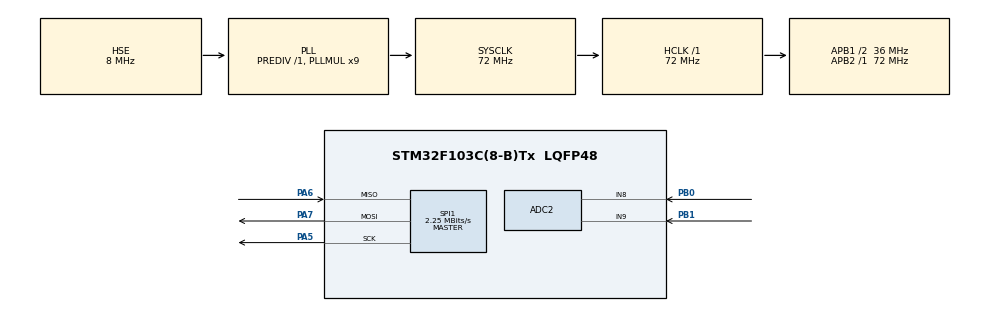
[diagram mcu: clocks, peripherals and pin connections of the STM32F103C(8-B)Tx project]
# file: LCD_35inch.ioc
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ADC2.Channel-0\#ChannelRegularConversion=ADC_CHANNEL_8
ADC2.Channel-2\#ChannelRegularConversion=ADC_CHANNEL_9
ADC2.ContinuousConvMode=ENABLE
ADC2.NbrOfConversion=2
ADC2.NbrOfConversionFlag=1
ADC2.Rank-2\#ChannelRegularConversion=2
ADC2.SamplingTime-0\#ChannelRegularConversion=ADC_SAMPLETIME_239CYCLES_5
ADC2.SamplingTime-2\#ChannelRegularConversion=ADC_SAMPLETIME_239CYCLES_5
Mcu.Family=STM32F1
Mcu.Name=STM32F103C(8-B)Tx
Mcu.Package=LQFP48
NVIC.PriorityGroup=NVIC_PRIORITYGROUP_4
PA13.Mode=Serial_Wire
PA13.Signal=SYS_JTMS-SWDIO
PA14.Mode=Serial_Wire
PA14.Signal=SYS_JTCK-SWCLK
PA5.Mode=Full_Duplex_Master
PA5.Signal=SPI1_SCK
PA6.Mode=Full_Duplex_Master
PA6.Signal=SPI1_MISO
PA7.Mode=Full_Duplex_Master
PA7.Signal=SPI1_MOSI
PB0.Signal=ADCx_IN8
PB1.Signal=ADCx_IN9
PC14-OSC32_IN.Mode=LSE-External-Oscillator
PC14-OSC32_IN.Signal=RCC_OSC32_IN
PC15-OSC32_OUT.Mode=LSE-External-Oscillator
PC15-OSC32_OUT.Signal=RCC_OSC32_OUT
PD0-OSC_IN.Mode=HSE-External-Oscillator
PD0-OSC_IN.Signal=RCC_OSC_IN
PD1-OSC_OUT.Mode=HSE-External-Oscillator
PD1-OSC_OUT.Signal=RCC_OSC_OUT
ProjectManager.HeapSize=0x200
ProjectManager.StackSize=0x400
ProjectManager.TargetToolchain=SW4STM32
RCC.ADCPresc=RCC_ADCPCLK2_DIV6
RCC.AHBFreq_Value=72000000
RCC.APB1CLKDivider=RCC_HCLK_DIV2
RCC.APB1Freq_Value=36000000
RCC.APB1TimFreq_Value=72000000
RCC.APB2Freq_Value=72000000
RCC.APB2TimFreq_Value=72000000
RCC.HCLKFreq_Value=72000000
RCC.PLLMUL=RCC_PLL_MUL9
RCC.PLLSourceVirtual=RCC_PLLSOURCE_HSE
RCC.SYSCLKFreq_VALUE=72000000
RCC.SYSCLKSource=RCC_SYSCLKSOURCE_PLLCLK
RCC.USBFreq_Value=72000000
SH.ADCx_IN8.0=ADC2_IN8,IN8
SH.ADCx_IN9.0=ADC2_IN9,IN9
SPI1.BaudRatePrescaler=SPI_BAUDRATEPRESCALER_32
SPI1.CalculateBaudRate=2.25 MBits/s
SPI1.Direction=SPI_DIRECTION_2LINES
SPI1.Mode=SPI_MODE_MASTER
SPI1.VirtualType=VM_MASTER
board=custom

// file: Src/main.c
/* USER CODE BEGIN Header */
/**
  ******************************************************************************
  * @file           : main.c
  * @brief          : Main program body
  ******************************************************************************
  * @attention
  *
  * <h2><center>&copy; Copyright (c) 2019 STMicroelectronics.
  * All rights reserved.</center></h2>
  *
  * This software component is licensed by ST under BSD 3-Clause license,
  * the "License"; You may not use this file except in compliance with the
  * License. You may obtain a copy of the License at:
  *                        opensource.org/licenses/BSD-3-Clause
  *
  ******************************************************************************
  */
/* USER CODE END Header */

#include "main.h"

/* USER CODE BEGIN Includes */
#include "9481.h"
#include "fonts.h"
#include "touch.h"

/* USER CODE END Includes */

ADC_HandleTypeDef hadc2;

SPI_HandleTypeDef hspi1;

/* USER CODE BEGIN PV */
u_int64_t counter = 0;
char TxBuf[100];
uint8_t i = 0 ;
volatile uint16_t valores[4];
uint32_t ADval[2];
/* USER CODE END PV */

void SystemClock_Config(void);
static void MX_GPIO_Init(void);
static void MX_SPI1_Init(void);
static void MX_ADC2_Init(void);

int main(void)
{

  /* MCU Configuration--------------------------------------------------------*/

  /* Reset of all peripherals, Initializes the Flash interface and the Systick. */
  HAL_Init();

  /* Configure the system clock */
  SystemClock_Config();

  /* Initialize all configured peripherals */
  MX_GPIO_Init();
  MX_SPI1_Init();
  MX_ADC2_Init();
  /* USER CODE BEGIN 2 */
  LCD_Begin();
  HAL_Delay(100);
  LCD_fillScreen(RED);
  LCD_fillScreen(GREEN);
  LCD_fillScreen(BLUE);
  LCD_fillScreen(MAGENTA);
  LCD_fillScreen(YELLOW);
  LCD_fillScreen(CYAN);
  LCD_fillScreen(WHITE);
  LCD_fillScreen(GRAY);
  LCD_fillScreen(BLACK);
  HAL_ADC_Start(&hadc2);
  /* USER CODE END 2 */

  /* Infinite loop */
  while (1)
  {

    /* USER CODE BEGIN 3 */
//	  LCD_fillScreen(BLACK);
//	  LCD_fillRectangle(10, 10, 230, 70, BLUE);
//	  LCD_fillRectangle(10, 90, 230, 150, BLUE);
//	  LCD_fillRectangle(10, 170, 230, 230, BLUE);
//	  LCD_fillRectangle(10, 250, 230, 310, BLUE);
//	  LCD_fillRectangle(250, 10, 470, 70, RED);
//	  LCD_fillRectangle(250, 90, 470, 150, RED);
//	  LCD_fillRectangle(250, 170, 470, 230, RED);
//	  LCD_fillRectangle(250, 250, 470, 310, RED);
//	  LCD_WriteString(50, 20, "Option 1", Font_7x10, WHITE, BLUE);
//	  LCD_WriteString(50, 120, "Option 2", Font_11x18, WHITE, BLUE);
//	  LCD_Triangle(100, 100, 120,120,150,100, 4, CYAN);
//	  LCD_Triangle_Fill(0, 0, 50,50,400,10, MAGENTA);
//	  LCD_Rect(100,100, 230, 150, 5, BLUE);
//	  LCD_Circle(200,200, 50, 0, 1, YELLOW);
//	  LCD_Rect_Round(20,200, 100,100, 10, 2, WHITE);
//	  LCD_Rect_Round_Fill(200,10, 100,100, 15,GRAY);
//	  LCD_Line(100, 100, 200, 200, 2, GREEN);  //descida
//	  LCD_Line(100, 100, 200, 100, 2, GREEN); //H
//	  HAL_Delay(50);
//	  LCD_Line(400, 100, 400, 300, 5, GREEN); //V
//	  HAL_Delay(50);
//	  LCD_Line(300, 100, 400, 50, 10, GREEN);  //subida
//	  HAL_Delay(1000);
	  LCD_fillScreen(BLACK);
	  touch_read(valores);
	  sprintf(TxBuf,"%i", valores[0]);
	  LCD_WriteString(50, 20, TxBuf, Font_7x10, WHITE, BLUE);
	  sprintf(TxBuf,"%i", valores[1]);
	  LCD_WriteString(50, 120, TxBuf, Font_7x10, WHITE, BLUE);
	  sprintf(TxBuf,"%i", valores[2]);
	  LCD_WriteString(200, 20, TxBuf, Font_7x10, WHITE, BLUE);
	  sprintf(TxBuf,"%i", valores[3]);
	  LCD_WriteString(200, 120, TxBuf, Font_7x10, WHITE, BLUE);
	  HAL_Delay(1000);
	  LCD_fillScreen(BLACK);
	  for(;;){
		  touch_read(valores);
		  sprintf(TxBuf,"%i", valores[0]);
		  LCD_WriteString(50, 20, TxBuf, Font_7x10, WHITE, BLUE);
		  sprintf(TxBuf,"%i", valores[1]);
		  LCD_WriteString(50, 120, TxBuf, Font_7x10, WHITE, BLUE);
		  sprintf(TxBuf,"%i", valores[2]);
		  LCD_WriteString(50, 320, TxBuf, Font_7x10, WHITE, BLUE);
		  if (valores[2] < 3800){
		  LCD_drawPixel (valores[1]/7-50, valores[0]/11-25, GREEN);
		  }
		  HAL_Delay(0);
	  }

//	    if (HAL_ADC_PollForConversion(&hadc2, HAL_MAX_DELAY) == HAL_OK)
//	    {
//	    ADval[0] = HAL_ADC_GetValue(&hadc2);
//	    }
//	    if (HAL_ADC_PollForConversion(&hadc2, HAL_MAX_DELAY) == HAL_OK)
//	    {
//	    ADval[1] = HAL_ADC_GetValue(&hadc2);
//	    }
//	    __NOP();
//	    ADval[0] = 0;
//	    ADval[1] = 0;
//	  	HAL_Delay(250);
//	  	GPIOB -> CRL |= GPIO_CRL_MODE1;
//	  	GPIOB -> CRL &= ~GPIO_CRL_CNF1;
//	  	GPIOB -> BSRR |= GPIO_BSRR_BS1;
//	  	HAL_Delay(2000);
//	  	GPIOB -> BSRR |= GPIO_BSRR_BR1;
//	  	HAL_Delay(2000);
//	  	GPIOB -> CRL &= ~GPIO_CRL_MODE1;
//	  	GPIOB -> CRL &= ~GPIO_CRL_CNF1;

  }
  /* USER CODE END 3 */
}

void SystemClock_Config(void)
{
  RCC_OscInitTypeDef RCC_OscInitStruct = {0};
  RCC_ClkInitTypeDef RCC_ClkInitStruct = {0};
  RCC_PeriphCLKInitTypeDef PeriphClkInit = {0};

  /** Initializes the CPU, AHB and APB busses clocks
  */
  RCC_OscInitStruct.OscillatorType = RCC_OSCILLATORTYPE_HSE;
  RCC_OscInitStruct.HSEState = RCC_HSE_ON;
  RCC_OscInitStruct.HSEPredivValue = RCC_HSE_PREDIV_DIV1;
  RCC_OscInitStruct.HSIState = RCC_HSI_ON;
  RCC_OscInitStruct.PLL.PLLState = RCC_PLL_ON;
  RCC_OscInitStruct.PLL.PLLSource = RCC_PLLSOURCE_HSE;
  RCC_OscInitStruct.PLL.PLLMUL = RCC_PLL_MUL9;
  if (HAL_RCC_OscConfig(&RCC_OscInitStruct) != HAL_OK)
  {
    Error_Handler();
  }
  /** Initializes the CPU, AHB and APB busses clocks
  */
  RCC_ClkInitStruct.ClockType = RCC_CLOCKTYPE_HCLK|RCC_CLOCKTYPE_SYSCLK
                              |RCC_CLOCKTYPE_PCLK1|RCC_CLOCKTYPE_PCLK2;
  RCC_ClkInitStruct.SYSCLKSource = RCC_SYSCLKSOURCE_PLLCLK;
  RCC_ClkInitStruct.AHBCLKDivider = RCC_SYSCLK_DIV1;
  RCC_ClkInitStruct.APB1CLKDivider = RCC_HCLK_DIV2;
  RCC_ClkInitStruct.APB2CLKDivider = RCC_HCLK_DIV1;

  if (HAL_RCC_ClockConfig(&RCC_ClkInitStruct, FLASH_LATENCY_2) != HAL_OK)
  {
    Error_Handler();
  }
  PeriphClkInit.PeriphClockSelection = RCC_PERIPHCLK_ADC;
  PeriphClkInit.AdcClockSelection = RCC_ADCPCLK2_DIV6;
  if (HAL_RCCEx_PeriphCLKConfig(&PeriphClkInit) != HAL_OK)
  {
    Error_Handler();
  }
}

static void MX_ADC2_Init(void)
{

  ADC_ChannelConfTypeDef sConfig = {0};

  /** Common config
  */
  hadc2.Instance = ADC2;
  hadc2.Init.ScanConvMode = ADC_SCAN_ENABLE;
  hadc2.Init.ContinuousConvMode = ENABLE;
  hadc2.Init.DiscontinuousConvMode = DISABLE;
  hadc2.Init.ExternalTrigConv = ADC_SOFTWARE_START;
  hadc2.Init.DataAlign = ADC_DATAALIGN_RIGHT;
  hadc2.Init.NbrOfConversion = 2;
  if (HAL_ADC_Init(&hadc2) != HAL_OK)
  {
    Error_Handler();
  }
  /** Configure Regular Channel
  */
  sConfig.Channel = ADC_CHANNEL_8;
  sConfig.Rank = ADC_REGULAR_RANK_1;
  sConfig.SamplingTime = ADC_SAMPLETIME_239CYCLES_5;
  if (HAL_ADC_ConfigChannel(&hadc2, &sConfig) != HAL_OK)
  {
    Error_Handler();
  }
  /** Configure Regular Channel
  */
  sConfig.Channel = ADC_CHANNEL_9;
  sConfig.Rank = ADC_REGULAR_RANK_2;
  if (HAL_ADC_ConfigChannel(&hadc2, &sConfig) != HAL_OK)
  {
    Error_Handler();
  }

}

static void MX_SPI1_Init(void)
{

  /* SPI1 parameter configuration*/
  hspi1.Instance = SPI1;
  hspi1.Init.Mode = SPI_MODE_MASTER;
  hspi1.Init.Direction = SPI_DIRECTION_2LINES;
  hspi1.Init.DataSize = SPI_DATASIZE_8BIT;
  hspi1.Init.CLKPolarity = SPI_POLARITY_LOW;
  hspi1.Init.CLKPhase = SPI_PHASE_1EDGE;
  hspi1.Init.NSS = SPI_NSS_SOFT;
  hspi1.Init.BaudRatePrescaler = SPI_BAUDRATEPRESCALER_32;
  hspi1.Init.FirstBit = SPI_FIRSTBIT_MSB;
  hspi1.Init.TIMode = SPI_TIMODE_DISABLE;
  hspi1.Init.CRCCalculation = SPI_CRCCALCULATION_DISABLE;
  hspi1.Init.CRCPolynomial = 10;
  if (HAL_SPI_Init(&hspi1) != HAL_OK)
  {
    Error_Handler();
  }

}

static void MX_GPIO_Init(void)
{

  /* GPIO Ports Clock Enable */
  __HAL_RCC_GPIOC_CLK_ENABLE();
  __HAL_RCC_GPIOD_CLK_ENABLE();
  __HAL_RCC_GPIOA_CLK_ENABLE();
  __HAL_RCC_GPIOB_CLK_ENABLE();

}

void Error_Handler(void)
{
}

/************************ (C) COPYRIGHT STMicroelectronics *****END OF FILE****/
